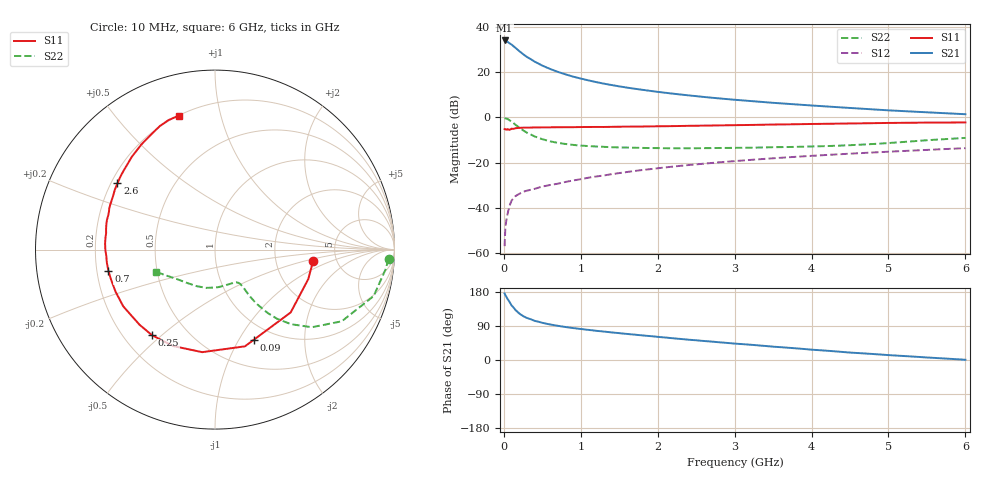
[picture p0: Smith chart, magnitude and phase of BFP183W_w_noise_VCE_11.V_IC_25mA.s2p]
! Infineon Technologies  Discrete & RF Semiconductors
! BFP183W
! VCE =  11. V,  IC =  25 mA
! Common Emitter S-Parameters:  Jan 2017
# GHz  S  MA  R  50
!  f  S11  S21  S12  S22
! GHz  MAG  ANG  MAG  ANG  MAG  ANG  MAG  ANG
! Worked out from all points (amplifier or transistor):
!   77 points, 10 MHz to 6 GHz, reference 50 ohm
!   highest |S21| = 34.1 dB at 10 MHz (marker M1)
!   |S21| within 3 dB of that: start of sweep to 141.2 MHz
!   unconditionally stable (mu >= 1): 1.164 GHz to 3.496 GHz
!   at 130 MHz: K = 0.26, MSG = 33.5 dB, |S12| = -35.7 dB
!   at 2.2 GHz: K = 1.06, MAG = 14.6 dB, |S12| = -21.8 dB
!   at 6 GHz: K = 0.86, MSG = 7.5 dB, |S12| = -13.6 dB
!   lowest NFmin = 1.29 dB at 450 MHz
!   S11 on the Smith chart (normalised r, x): 10 MHz: 3.31, -0.63; 90 MHz: 0.81, -1.16; 250 MHz: 0.32, -0.47; 700 MHz: 0.25, -0.09; 2.6 GHz: 0.23, +0.29; 6 GHz: 0.20, +0.74
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0.01  0.5499 -6.9  50.72 175.6  0.0014 68.8  0.9686 -3.1
0.02  0.545 -17.6  49.98 171.3  0.0037 91.4  0.9563 -6.7
0.05  0.5481 -39.7  47.19 160.4  0.0075 71.5  0.9212 -16.3
0.09  0.5465 -66.5  42.13 147.8  0.0129 65.4  0.8296 -26.6
0.1  0.5642 -72.8  41.23 144.2  0.0143 64.6  0.8115 -29.5
0.15  0.5758 -97.1  34.92 132.1  0.018 54.7  0.6917 -38.7
0.2  0.5856 -113.4  29.5 122.9  0.0202 52.0  0.5943 -44.4
0.25  0.5922 -126.3  25.26 116.0  0.0224 47.5  0.5179 -48.1
0.3  0.5934 -135.2  21.89 110.9  0.0238 46.7  0.4581 -50.3
0.4  0.6011 -148.3  17.23 103.3  0.0261 47.0  0.378 -52.6
0.5  0.6016 -157.0  14.04 98.1  0.0293 48.1  0.3288 -53.2
0.6  0.6026 -163.6  11.88 93.8  0.0317 49.2  0.2954 -53.3
0.7  0.6057 -168.5  10.23 90.3  0.0339 51.5  0.2724 -53.2
0.9  0.6068 -176.8  8.016 84.3  0.04 53.8  0.2457 -53.5
1.1  0.6132 176.9  6.608 79.5  0.0461 56.3  0.2316 -54.2
1.5  0.6215 167.0  4.87 70.9  0.0583 58.9  0.216 -58.0
2.1  0.6378 154.5  3.515 59.3  0.0779 59.1  0.2077 -68.5
2.6  0.657 145.8  2.838 50.2  0.0942 58.1  0.2081 -80.4
3.1  0.676 137.8  2.384 41.9  0.1107 55.9  0.212 -93.0
4.1  0.7181 123.8  1.791 25.9  0.1438 50.9  0.2291 -118.8
5.1  0.756 113.2  1.405 11.7  0.1769 45.1  0.2777 -145.1
6  0.7729 105.2  1.176 0.6  0.2084 39.2  0.3515 -159.5
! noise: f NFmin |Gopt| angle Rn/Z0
0.45  1.29  0.25  177  0.1
0.9  1.32  0.28  180  0.09
1.9  1.8  0.43  -158  0.09
2.4  2.04  0.48  -154  0.13
